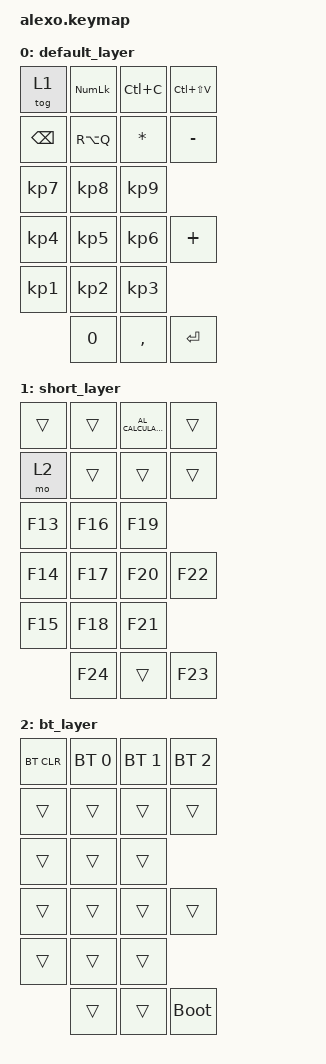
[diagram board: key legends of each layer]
#include <behaviors.dtsi>
#include <dt-bindings/zmk/keys.h>
#include <dt-bindings/zmk/bt.h>

/ {
    keymap {
        compatible = "zmk,keymap";

        default_layer {
            bindings = <  
                &tog 1      &kp KP_NUM  &kp LC(C)   &kp LC(LS(V))
                &kp BSPC    &kp RA(Q)   &kp ASTRK   &kp MINUS
                &kp KP_N7   &kp KP_N8   &kp KP_N9   
                &kp KP_N4   &kp KP_N5   &kp KP_N6   &kp PLUS
                &kp KP_N1   &kp KP_N2   &kp KP_N3   
                            &kp N0      &kp COMMA   &kp RET   
            >; 
        };
        
        short_layer {
            bindings = <
                &trans   &trans    &kp C_AL_CALCULATOR   &trans
                &mo 2    &trans    &trans                &trans
                &kp F13  &kp F16   &kp F19   
                &kp F14  &kp F17   &kp F20               &kp F22
                &kp F15  &kp F18   &kp F21   
                         &kp F24   &trans                &kp F23                
            >;        
        };

        bt_layer {
            bindings = <
                &bt BT_CLR  &bt BT_SEL 0  &bt BT_SEL 1    &bt BT_SEL 2
                &trans      &trans        &trans          &trans
                &trans      &trans        &trans         
                &trans      &trans        &trans          &trans
                &trans      &trans        &trans        
                            &trans        &trans          &bootloader
            >;
        };
    };
};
